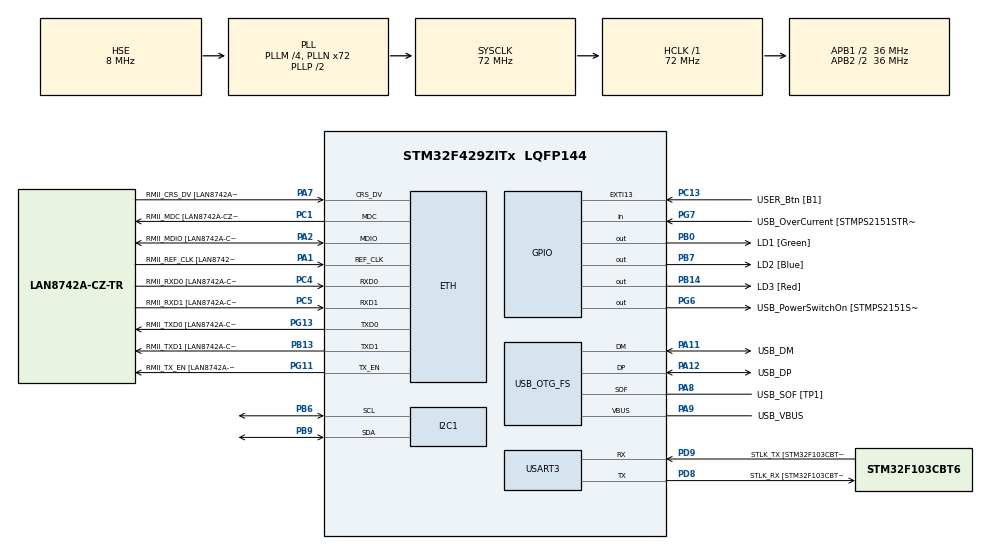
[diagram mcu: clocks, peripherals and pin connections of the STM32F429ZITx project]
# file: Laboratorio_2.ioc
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ETH.MediaInterface=HAL_ETH_RMII_MODE
ETH.PHY_Name=LAN8742A_PHY_ADDRESS
ETH.PHY_Value=0
ETH.PhyAddress=0
Mcu.Family=STM32F4
Mcu.Name=STM32F429ZITx
Mcu.Package=LQFP144
NVIC.PriorityGroup=NVIC_PRIORITYGROUP_4
PA1.GPIO_Label=RMII_REF_CLK [LAN8742A-CZ-TR_REFCLK0]
PA1.Mode=RMII
PA1.Signal=ETH_REF_CLK
PA10.GPIO_Label=USB_ID
PA10.Signal=USB_OTG_FS_ID
PA11.GPIO_Label=USB_DM
PA11.Mode=Device_Only
PA11.Signal=USB_OTG_FS_DM
PA12.GPIO_Label=USB_DP
PA12.Mode=Device_Only
PA12.Signal=USB_OTG_FS_DP
PA13.GPIO_Label=TMS
PA13.Mode=Serial_Wire
PA13.Signal=SYS_JTMS-SWDIO
PA14.GPIO_Label=TCK
PA14.Mode=Serial_Wire
PA14.Signal=SYS_JTCK-SWCLK
PA2.GPIO_Label=RMII_MDIO [LAN8742A-CZ-TR_MDIO]
PA2.Mode=RMII
PA2.Signal=ETH_MDIO
PA7.GPIO_Label=RMII_CRS_DV [LAN8742A-CZ-TR_CRS_DV]
PA7.Mode=RMII
PA7.Signal=ETH_CRS_DV
PA8.GPIO_Label=USB_SOF [TP1]
PA8.Mode=Activate_SOF_FS
PA8.Signal=USB_OTG_FS_SOF
PA9.GPIO_Label=USB_VBUS
PA9.Mode=Activate_VBUS
PA9.Signal=USB_OTG_FS_VBUS
PB0.GPIO_Label=LD1 [Green]
PB0.Signal=GPIO_Output
PB13.GPIO_Label=RMII_TXD1 [LAN8742A-CZ-TR_TXD1]
PB13.Mode=RMII
PB13.Signal=ETH_TXD1
PB14.GPIO_Label=LD3 [Red]
PB14.Signal=GPIO_Output
PB6.Mode=I2C
PB6.Signal=I2C1_SCL
PB7.GPIO_Label=LD2 [Blue]
PB7.Signal=GPIO_Output
PB9.Mode=I2C
PB9.Signal=I2C1_SDA
PC1.GPIO_Label=RMII_MDC [LAN8742A-CZ-TR_MDC]
PC1.Mode=RMII
PC1.Signal=ETH_MDC
PC13.GPIO_Label=USER_Btn [B1]
PC13.Signal=GPXTI13
PC14/OSC32_IN.Signal=RCC_OSC32_IN
PC15/OSC32_OUT.Signal=RCC_OSC32_OUT
PC4.GPIO_Label=RMII_RXD0 [LAN8742A-CZ-TR_RXD0]
PC4.Mode=RMII
PC4.Signal=ETH_RXD0
PC5.GPIO_Label=RMII_RXD1 [LAN8742A-CZ-TR_RXD1]
PC5.Mode=RMII
PC5.Signal=ETH_RXD1
PD8.GPIO_Label=STLK_RX [STM32F103CBT6_PA3]
PD8.Mode=Asynchronous
PD8.Signal=USART3_TX
PD9.GPIO_Label=STLK_TX [STM32F103CBT6_PA2]
PD9.Mode=Asynchronous
PD9.Signal=USART3_RX
PG11.GPIO_Label=RMII_TX_EN [LAN8742A-CZ-TR_TXEN]
PG11.Mode=RMII
PG11.Signal=ETH_TX_EN
PG13.GPIO_Label=RMII_TXD0 [LAN8742A-CZ-TR_TXD0]
PG13.Mode=RMII
PG13.Signal=ETH_TXD0
PG6.GPIO_Label=USB_PowerSwitchOn [STMPS2151STR_EN]
PG6.Signal=GPIO_Output
PG7.GPIO_Label=USB_OverCurrent [STMPS2151STR_FAULT]
PG7.Signal=GPIO_Input
PH0/OSC_IN.GPIO_Label=MCO [STM32F103CBT6_PA8]
PH0/OSC_IN.Mode=HSE-External-Oscillator
PH0/OSC_IN.Signal=RCC_OSC_IN
PH1/OSC_OUT.Mode=HSE-External-Oscillator
PH1/OSC_OUT.Signal=RCC_OSC_OUT
ProjectManager.HeapSize=0x200
ProjectManager.StackSize=0x400
ProjectManager.TargetToolchain=STM32CubeIDE
RCC.48MHZClocksFreq_Value=48000000
RCC.AHBFreq_Value=72000000
RCC.APB1CLKDivider=RCC_HCLK_DIV2
RCC.APB1Freq_Value=36000000
RCC.APB1TimFreq_Value=72000000
RCC.APB2CLKDivider=RCC_HCLK_DIV2
RCC.APB2Freq_Value=36000000
RCC.APB2TimFreq_Value=72000000
RCC.CortexFreq_Value=72000000
RCC.HCLKFreq_Value=72000000
RCC.HSE_VALUE=8000000
RCC.HSI_VALUE=16000000
RCC.PLLM=4
RCC.PLLMUL=RCC_PLL_MUL9
RCC.PLLN=72
RCC.PLLQ=3
RCC.PRESCALERUSB=RCC_USBCLKSOURCE_PLL_DIV1_5
RCC.SYSCLKFreq_VALUE=72000000
RCC.SYSCLKSource=RCC_SYSCLKSOURCE_PLLCLK
RCC.SYSCLKSourceVirtual=RCC_SYSCLKSOURCE_PLLCLK
RCC.USBFreq_Value=48000000
RCC.VCOOutputFreq_Value=144000000
USART3.VirtualMode=VM_ASYNC
USB_OTG_FS.VirtualMode=Device_Only
board=NUCLEO-F429ZI

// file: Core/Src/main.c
/* USER CODE BEGIN Header */
/**
  ******************************************************************************
  * @file           : main.c
  * @brief          : Main program body
  ******************************************************************************
  * @attention
  *
  * Copyright (c) 2022 STMicroelectronics.
  * All rights reserved.
  *
  * This software is licensed under terms that can be found in the LICENSE file
  * in the root directory of this software component.
  * If no LICENSE file comes with this software, it is provided AS-IS.
  *
  ******************************************************************************
  */
/* USER CODE END Header */
#include "main.h"
#include "string.h"

/* USER CODE BEGIN Includes */
#include <stdio.h>
/* USER CODE END Includes */

ETH_TxPacketConfig TxConfig;
ETH_DMADescTypeDef  DMARxDscrTab[ETH_RX_DESC_CNT]; /* Ethernet Rx DMA Descriptors */
ETH_DMADescTypeDef  DMATxDscrTab[ETH_TX_DESC_CNT]; /* Ethernet Tx DMA Descriptors */

ETH_HandleTypeDef heth;

I2C_HandleTypeDef hi2c1;

UART_HandleTypeDef huart3;

PCD_HandleTypeDef hpcd_USB_OTG_FS;

void SystemClock_Config(void);
static void MX_GPIO_Init(void);
static void MX_ETH_Init(void);
static void MX_USART3_UART_Init(void);
static void MX_USB_OTG_FS_PCD_Init(void);
static void MX_I2C1_Init(void);

/* USER CODE BEGIN 0 */

#define DS3231_ADDRESS 0XD0

uint8_t decToBcd(int val)
{
	return(uint8_t)((val/10*16)+(val%10));
}
int bcdToDec(uint8_t val)
{
	return (int)((val/16*10)+(val%16));
}

typedef struct
{
	uint8_t seconds;
	uint8_t minutes;
	uint8_t hour;
	uint8_t dayofweek;
	uint8_t dayofmonth;
	uint8_t month;
	uint8_t year;
} TIME;

TIME time;

void Set_Time(uint8_t sec, uint8_t min, uint8_t hour, uint8_t dow, uint8_t dom, uint8_t month, uint8_t year)
{
	uint8_t set_time[7];
	set_time[0] = decToBcd(sec);
	set_time[1] = decToBcd(min);
	set_time[2] = decToBcd(hour);
	set_time[3] = decToBcd(dow);
	set_time[4] = decToBcd(dom);
	set_time[5] = decToBcd(month);
	set_time[6] = decToBcd(year);

	HAL_I2C_Mem_Write(&hi2c1, DS3231_ADDRESS, 0x00, 1, set_time, 7, 1000);
}

void Get_Time(void)
{
	uint8_t get_time[7];
	HAL_I2C_Mem_Read(&hi2c1, DS3231_ADDRESS, 0x00, 1, get_time, 7, 1000);
	time.seconds = bcdToDec(get_time[0]);
	time.minutes = bcdToDec(get_time[1]);
	time.hour = bcdToDec(get_time[2]);
	time.dayofweek = bcdToDec(get_time[3]);
	time.dayofmonth = bcdToDec(get_time[4]);
	time.month = bcdToDec(get_time[5]);
	time.year = bcdToDec(get_time[6]);
}

char date[30];
char hora[30];
uint8_t flagEsc;

typedef enum EStatesMain{
	MAIN_INIT
}EStatesMain;
/* USER CODE END 0 */

int main(void)
{
  /* USER CODE BEGIN 1 */
	char semilla[16];
	char tags[10];
	char seleccion[10];
	char next[1];
	char opcion[10];
	char impresion[10];
	char frecuencia[10];
	char fre[10];
  /* USER CODE END 1 */

  /* MCU Configuration--------------------------------------------------------*/

  /* Reset of all peripherals, Initializes the Flash interface and the Systick. */
  HAL_Init();

  /* Configure the system clock */
  SystemClock_Config();

  /* Initialize all configured peripherals */
  MX_GPIO_Init();
  MX_ETH_Init();
  MX_USART3_UART_Init();
  MX_USB_OTG_FS_PCD_Init();
  MX_I2C1_Init();
  /* USER CODE BEGIN 2 */
  //Set_Time(10,26,2,4,8,12,22);
  RetargetInit(&huart3);
  enum EStatesMain statesMain;
  flagEsc =1;
  printf("\x1b[2J"); //Clear the screen
  /* USER CODE END 2 */

  /* Infinite loop */
  while (1)
  {
	  if(flagEsc)
	  {
		  flagEsc=0;
		  statesMain = MAIN_INIT;
	  }else switch(statesMain)
	  {
	  	  case MAIN_INIT:
	  	  Get_Time();
	  	  int band_menu=0;
	  	  int band_impresion;
	  	  	  	  printf("\r\nMenu principal, por favor seleccione la opcion de que desea realizar");
	  	  	  	  printf("\r\nAyuda General sistema: 1 ");
	  	  	  	  printf("\r\nAyuda detallada: 2 ");
	  	  	  	  printf("\r\nSistema control de led a frecuencia: 3 ");
	  	  	  	  printf("\r\nSecuencia pseudoaleatorias: 4 ");
	  	  	  	  printf("\r\nConfiguracion hora y fecha: 5 ");
	  	  	  	  printf("\r\nSensor de temperatura: 6 ");
	  	  	  	  printf("\r\nRegistros de ejecución: 7 ");
	  	  	  	  printf("\r\nHabilitacion/Deshabilitación de impresion interfaz serial: 8 ");
	  	  	  	  scanf("%s", seleccion);
	  	  	  	  int menu = atoi(seleccion);

	  	  	  	  if(menu==1)
	  	  	  	  {
	  	  	  		  printf("\x1b[2J");
	  	  	  		  printf("\r\nOpcion 2 Ayuda detallada. \r\n ");
	  	  	  		  printf("\r\nEn esta opcion se selecciona la opcion de la que desea tener mayor informacion para poder uso de esta.\r\n ");
	  	  	  		  printf("\r\nOpcion 3 Sistema control de led a frecuencia.\r\n ");
	  	  	  		  printf("\r\nEste sistema lo que hace es realizar el encendido y apagado de un led respecto a la frecuencia que desee escoger el usuario"
	  	  	  				  " siempre y cuando esta se encuentre en el intervalo entre 0.1 y 10 Hz.\r\n ");
	  	  	  		  printf("\r\nOpcion 4 Secuencia pseudaleatoria.\r\n ");
	  	  	  		  printf("\r\nEsta opcion es para inciar una secuencia pseudoaleatoria con dos terminos de realimentacion, la cual se podra realizar para "
	  	  	  				  "tamaños de semilla  entre 4 y 32 bits.\r\n ");
	  	  	  		  printf("\r\nOpcion 5 Configuracion hora y fecha.\r\n ");
	  	  	  		  printf("\r\nEsta opcion permite al usuario modificar fecha y hora, para poder realizar el registro correcto de las ejecuciones realizadas"
	  	  	  				"en el sistema.\r\n ");
	  	  	  		  printf("\r\nOpcion 6 Sensor de temperatura.\r\n ");
	  	  	  		  printf("\r\nEn esta opcion se puede observar la temperatura ambiente en donde se encuentra el sistema.\r\n ");

	  	  	  		  printf("\r\nOpcion 7 Registro de ejecucion.\r\n ");
	  	  	  		  printf("\r\nEn esta opcion encuentra el registro de los ultimos procesos de ejecucion realizados.\r\n ");

	  	  	  		  printf("\r\nOpcion 8 Habilitacion de impresion interfaz serial.\r\n ");
	  	  	  		  printf("\r\nEn esta opcion se puede escoger si se desea observar los valores de la secuencia pseudoaleatoria o no.\r\n ");
	  	  	  		  scanf("%s",next);

	  	  	  		  band_menu=1;

	  	  	  	  }
	  	  	  	  if(menu==2)
	  	  	  	  {
	  	  	  		  printf("\x1b[2J");
	  	  	  		  printf("\r\nSeleccione de cual opcion quiere tener mas información ");
	  	  	  		  printf("\r\nSistema control de led a frecuencia: 1 ");
	  	  	  		  printf("\r\nSecuencia pseudoaleatorias: 2 ");
	  	  	  		  printf("\r\nConfiguracion hora y fecha: 3 ");
	  	  	  		  printf("\r\nSensor de temperatura: 4 ");
	  	  	  		  printf("\r\nRegistros de ejecución: 5 ");
	  	  	  		  printf("\r\nHabilitacion/Deshabilitación de impresion interfaz serial: 6 ");
	  	  	  		  scanf("%s",opcion);
	  	  	  		  int help = atoi(opcion);
	  	  	  		  if(help==1)
	  	  	  		  {
	  	  	  			  printf("\x1b[2J");
	  	  	  			  printf("\r\nSistema control de led a frecuencia\r\n ");
	  	  	  			  printf("\r\nEn esta opcion tenemos unas frecuencias predeterminadas para escoger, aunque tambien se encuentra una opcion en la que podemos"
	  	  	  					  "escribir un valor de frecuencia diferente a las que nos da el sistema, la unica condicion es que se encuentre en el rango de 0.1 a 10 Hz"
	  	  	  					  " de los contrario el sistema arrojara un error y nos dirigira al menu principal.\r\n ");
	  	  	  			  scanf("%s",next);
	  	  	  			  band_menu=1;
	  	  	  		  }
	  	  	  		  if(help==2)
	  	  	  		  {
	  	  	  			  printf("\x1b[2J");
	  	  	  			  printf("\r\nSecuencia pseudaleatoria\r\n ");
	  	  	  			  printf("\r\nEn esta opcion usted puede ingresar un valor semilla que se encuentre entre 4 y 32 bits, el cual sera el inicio de la secuencia, ademas "
	  	  	  					  "tiene la opcion de escoger las posiciones que se utilizaran para la implementacion de la xor y de estas obtener el bit de realimentacion "
	  	  	  					  "en la secuencia.\r\n ");
	  	  	  			  scanf("%s",next);
	  	  	  			  band_menu=1;
	  	  	  		  }
	  	  	  		  if(help==3)
	  	  	  		  {
	  	  	  			  printf("\x1b[2J");
	  	  	  			  printf("\r\nConfiguracion hora y fecha.\r\n ");
	  	  	  			  printf("\r\nEn esta opcion usted puede ingresar a configurar la fecha y hora, ya sea porque se ha  desconfigurado el reloj o haya cambiado de locacion geografica.\r\n ");
	  	  	  			  scanf("%s",next);
	  	  	  			  band_menu=1;
	  	  	  		  }
	  	  	  		  if(help==4)
	  	  	  		  {
	  	  	  			  printf("\x1b[2J");
	  	  	  			  printf("\r\nSensor de temperatura.\r\n ");
	  	  	  			  printf("\r\nEn esta opcion se puede observar en tiempo real la temperatura ambiente.\r\n ");
	  	  	  			  scanf("%s",next);
	  	  	  			  band_menu=1;
	  	  	  		  }
	  	  	  		  if(help==5)
	  	  	  		  {
	  	  	  			  printf("\x1b[2J");
	  	  	  			  printf("\r\nRegistro de ejecucion.\r\n ");
	  	  	  			  printf("\r\nEn esta opcion se pueden observar los parametros claves e inciales de las ultimas ejecuciones realizadas en el sistema.\r\n ");
	  	  	  			  scanf("%s",next);
	  	  	  			  band_menu=1;
	  	  	  		  }
	  	  	  		  if(help==6)
	  	  	  		  {
	  	  	  			  printf("\x1b[2J");
	  	  	  			  printf("\r\nHabilitacion de impresion interfaz serial.\r\n ");
	  	  	  			  printf("\r\nEn esta opcion se presenta la posibilidad de desactivar o activar la impresion de los datos de la opcion 4 de secuencia pseudaleatoria.\r\n ");
	  	  	  			  scanf("%s",next);
	  	  	  			  band_menu=1;
	  	  	  		  }
	  	  	  		  band_menu=1;

	  	  	  	  }
	  	  	  	  if(menu==3)
	  	  	  	  {
	  	  	  		  int cont=0;
	  	  	  		  int var;
	  	  	  		  printf("\x1b[2J");
	  	  	  		  printf("\r\nSeleccione la frecuencia deseada");
	  	  	  		  printf("\r\n0.1 Hz: 1");
	  	  	  		  printf("\r\n0.5 Hz: 2");
	  	  	  		  printf("\r\n1 Hz: 3");
	  	  	  		  printf("\r\n3 Hz: 4");
	  	  	  		  printf("\r\n5 Hz: 5");
	  	  	  		  printf("\r\n7 Hz: 6");
	  	  	  		  printf("\r\n9 Hz: 7");
	  	  	  		  printf("\r\n10 Hz: 8");
	  	  	  		  printf("\r\nOtra: 9");
	  	  	  		  scanf("%s",frecuencia);

	  	  	  		  int dig = atoi(frecuencia);

	  	  	  		  if(dig==1)
	  	  	  		  {
	  	  	  			  while(cont<101)
	  	  	  			  {
	  	  	  				  HAL_GPIO_TogglePin(LD2_GPIO_Port,LD2_Pin);
	  	  	  				  HAL_Delay(10000);
	  	  	  				  cont++;
	  	  	  			  }
	  	  	  			  band_menu=1;
	  	  	  		  }
	  	  	  		  if(dig==2)
	  	  	  		  {
	  	  	  			  while(cont<101)
	  	  	  			  {
	  	  	  				  HAL_GPIO_TogglePin(LD2_GPIO_Port,LD2_Pin);
	  	  	  				  HAL_Delay(2000);
	  	  	  				  cont++;
	  	  	  			  }
	  	  	  			  band_menu=1;
	  	  	  		  }
	  	  	  		  if(dig==3)
	  	  	  		  {
	  	  	  			  while(cont<101)
	  	  	  			  {
	  	  	  				  HAL_GPIO_TogglePin(LD2_GPIO_Port,LD2_Pin);
	  	  	  				  HAL_Delay(1000);
	  	  	  				  cont++;
	  	  	  			  }
	  	  	  		  }
	  	  	  		  if(dig==4)
	  	  	  		  {
	  	  	  			  while(cont<101)
	  	  	  			  {
	  	  	  				  HAL_GPIO_TogglePin(LD2_GPIO_Port,LD2_Pin);
	  	  	  				  HAL_Delay(333);
	  	  	  				  cont++;
	  	  	  			  }
	  	  	  		  }
	  	  	  		  if(dig==5)
	  	  	  		  {
	  	  	  			  while(cont<101)
	  	  	  			  {
	  	  	  				  HAL_GPIO_TogglePin(LD2_GPIO_Port,LD2_Pin);
	  	  	  				  HAL_Delay(200);
	  	  	  				  cont++;
	  	  	  			  }
	  	  	  		  }
	  	  	  		  if(dig==6)
	  	  	  		  {
	  	  	  			  while(cont<101)
	  	  	  			  {
	  	  	  				  HAL_GPIO_TogglePin(LD2_GPIO_Port,LD2_Pin);
	  	  	  				  HAL_Delay(143);
	  	  	  				  cont++;
	  	  	  			  }
	  	  	  		  }
	  	  	  		  if(dig==7)
	  	  	  		  {
	  	  	  			  while(cont<101)
	  	  	  			  {
	  	  	  				  HAL_GPIO_TogglePin(LD2_GPIO_Port,LD2_Pin);
	  	  	  				  HAL_Delay(111);
	  	  	  				  cont++;
	  	  	  			  }
	  	  	  		  }
	  	  	  		  if(dig==8)
	  	  	  		  {
	  	  	  			  while(cont<101)
	  	  	  			  {
	  	  	  				  HAL_GPIO_TogglePin(LD2_GPIO_Port,LD2_Pin);
	  	  	  				  HAL_Delay(100);
	  	  	  				  cont++;
	  	  	  			  }
	  	  	  		  }
	  	  	  		  if(dig==9)
	  	  	  		  {
	  	  	  			  printf("\r\nValor frecuencia entre 0.1 a 10 Hz");
	  	  	  			  scanf("%s",fre);
	  	  	  			  int f = atoi (fre);
	  	  	  			  var = (1/f)*1000;
	  	  	  			  while(cont<101)
	  	  	  			  {
	  	  	  				  HAL_GPIO_TogglePin(LD2_GPIO_Port,LD2_Pin);
	  	  	  				  HAL_Delay(var);
	  	  	  				  cont++;
	  	  	  			  }
	  	  	  		  }
	  	  	  		  band_menu=1;
	  	  	  	  }
	  	  	  	  if(menu==4)
	  	  	  	  {
	  	  	  		  printf("\x1b[2J");
	  	  	  		  int band=0;
	  	  	  		  printf("\r\nIngrese el valor semilla: ");
	  	  	       	  scanf("%s", semilla);
	  	  	  	 	  printf("\r\nEl valor semilla ingresado: %s\r\n ", semilla);
	  	  	  	 	  printf("\r\nIngrese el tamaño para la realimentacion\r\n ");
	  	  	  		  scanf("%s", tags);
	  	  	      	  printf("\r\nEl tamaño: %s\r\n ", tags);
	  	  	  	  	  int numref = atoi(tags);
	  	  	  	  	  int sem;
	  	  	  	  	  if(numref == 7)
	  	  	  		  {
	  	  	  	  		  int cont=0,cant=0,max=128,p_max=0,pos=0;
	  	  	  	  		  uint8_t lfsr=atoi(semilla);
	  	  	  		  	  uint8_t bit;
	  	  	  		  	  printf("\r\n#bits término de realimentación %s\r\n", tags);
	  	  	  		  	  printf("\r\nValor inicial(semilla) %s\r\n", semilla);
	  	  	  		  	  printf("\r\n#Valores esperados %d\r\n", max);
	  	  	  		  	  while(cont<128)
	  	  	  		  	  {
	  	  	  		  	  	  bit = ((lfsr >> 0) ^ (lfsr >> 1)) & 1;
	  	  	  			  	  lfsr = (lfsr >> 1) | (bit << 6);
	  	  	  		  	  	  cont++;
	  	  	  		  	  	  if(band_impresion==1)
	  	  	  		  	  	  {
	  	  	  		  	  		  printf("\r\ndata: %x\r\n", lfsr);
	  	  	  		  	  	  }
	  	  	  		  	  	  HAL_GPIO_TogglePin(LD2_GPIO_Port,LD2_Pin);
	  	  	  			  	  HAL_Delay(200);
	  	  	  		  		  cant++;
	  	  	  		  	  	  if(atoi(semilla)==lfsr)
	  	  	  			  	  {
	  	  	  			  		  cont=129;
	  	  	  			  		  printf("\r\nCantidad: %d\r\n", cant);
	  	  	  			  	  }
	  	  	  		  	 	  if(0X7F ==lfsr)
	  	  	  			  	  {
	  	  	  			  		  pos=cant;
	  	  	    			  		  p_max=1;
	  	  	   			  	  }
	  	  	  			  }
	  	  	  		  	  printf("\r\n#bits término de realimentación %s\r\n", tags);
	  	  	  		  	  printf("\r\nValor inicial(semilla) %s\r\n", semilla);
	  	  	  		  	  printf("\r\nNumero de valores calculados %d\r\n", cant);
	  	  	  		  	  if(p_max=1)
	  	  	  		  	  {
	  	  	  				  printf("\r\nTuvo periodo maximo en la secuencia %d\r\n", pos);
	  	  	  		  	  }
	  	  	  		  	  else
	  	  	  		  	  {
	  	  	  		  		  printf("\r\nNo tuvo periodo maximo\r\n");
	  	  	  		  	  }
	  	  	  		  	  if(pos | 0)
	  	  	  		  	  {
	  	  	  		  		  HAL_GPIO_TogglePin(LD3_GPIO_Port,LD3_Pin);
	  	  	  		  		  HAL_Delay(5000);
	  	  	  		  	  }
	  	  	  		  	  band=1;
	  	  	  		  }
	  	  	  		  if(numref == 12)
	  	  	  		  {
	  	  	  		  	 int cont=0,cant=0,max=4096,p_max=0,pos=0;
	  	  	  		  	 uint16_t lfsr1=atoi(semilla);
	  	  	  		  	 uint16_t seed=0xFFF;
	  	  	  		  	 uint16_t bit1;
	  	  	  		  	 printf("\r\n#bits término de realimentación %s\r\n", tags);
	  	  	  		  	 printf("\r\nValor inicial(semilla) %s\r\n", semilla);
	  	  	  		  	 printf("\r\n#Valores esperados %d\r\n", max);
	  	  	  		  	 while(cont<4096)
	  	  	  		  	 {
	  	  	  		  		 bit1 = ((lfsr1 >> 0) ^ (lfsr1 >> 1)) & 1;
	  	  	  		  		 lfsr1 = (lfsr1 >> 1) | (bit1 << 11);
	  	  	  		  		 cont++;
	  	  	  		  		 if(band_impresion==1)
	  	  	  		  		 {
	  	  	  		  			 printf("\r\ndata: %x\r\n", lfsr1);
	  	  	  		  		 }
	  	  	  		  		 HAL_GPIO_TogglePin(LD2_GPIO_Port,LD2_Pin);
	  	  	  		  		 //HAL_Delay(200);
	  	  	  		  		 cant++;
	  	  	  		  		 if(atoi(semilla)==lfsr1)
	  	  	  		  		 {
	  	  	  		  			 cont=4097;
	  	  	  		  			 printf("\r\nCantidad: %d\r\n", cant);
	  	  	  		  		 }
	  	  	  		  		 if(0XFFF ==lfsr1)
	  	  	  		  		 {
	  	  	  		  			 pos=cant;
	  	  	  		  			 p_max=1;
	  	  	  		  		 }
	  	  	  		  	 }
	  	  	  		  	 printf("\r\n#bits término de realimentación %s\r\n", tags);
	  	  	  		  	 printf("\r\nValor inicial(semilla) %s\r\n", semilla);
	  	  	  		  	 printf("\r\nNumero de valores calculados %d\r\n", cant);
	  	  	  		  	 if(p_max=1)
	  	  	  		  	 {
	  	  	  		  		 printf("\r\nTuvo periodo maximo en la secuencia %d\r\n", pos);
	  	  	  		  	 }
	  	  	  		  	 else
	  	  	  		  	 {
	  	  	  		  		 printf("\r\nNo tuvo periodo maximo\r\n");
	  	  	  		  	 }
	  	  	  		  	 if(pos | 0)
	  	  	  		  	 {
	  	  	  		  		 HAL_GPIO_TogglePin(LD3_GPIO_Port,LD3_Pin);
	  	  	  		  		 HAL_Delay(5000);
	  	  	  		  	 }
	  	  	  		  	 band=1;
	  	  	  		  }
	  	  	  		  if(numref == 16)
	  	  	  		  {
	  	  	  			  int cont=0,cant=0,max=4096,p_max=0,pos=0;
	  	  	  			  uint16_t lfsr2=atoi(semilla);
	  	  	  			  uint16_t bit2;
	  	  	  			  printf("\r\n#bits término de realimentación %s\r\n", tags);
	  	  	  			  printf("\r\nValor inicial(semilla) %s\r\n", semilla);
	  	  	  			  printf("\r\n#Valores esperados %d\r\n", max);
	  	  	  			  while(cont<65535)
	  	  	  			  {
	  	  	  				  bit2 = ((lfsr2 >> 0) ^ (lfsr2 >> 1)) & 1;
	  	  	  				  lfsr2 = (lfsr2 >> 1) | (bit2 << 15);
	  	  	  				  cont++;
	  	  	  				  if(band_impresion==1)
	  	  	  				  {
	  	  	  					  printf("\r\ndata: %x\r\n", lfsr2);
	  	  	  				  };
	  	  	  				  HAL_GPIO_TogglePin(LD2_GPIO_Port,LD2_Pin);
	  	  	  				  HAL_Delay(200);
	  	  	  				  cant++;
	  	  	  				  if(atoi(semilla)==lfsr2)
	  	  	  				  {
	  	  	  					  cont=65536;
	  	  	  					  printf("\r\nCantidad: %d\r\n", cant);
	  	  	  				  }
	  	  	  				  if(0XFFFF ==lfsr2)
	  	  	  				  {
	  	  	  					  pos=cant;
	  	  	  					  p_max=1;
	  	  	  				  }
	  	  	  			  }
	  	  	  			  printf("\r\n#bits término de realimentación %s\r\n", tags);
	  	  	  			  printf("\r\nValor inicial(semilla) %s\r\n", semilla);
	  	  	  			  printf("\r\nNumero de valores calculados %d\r\n", cant);
	  	  	  			  if(p_max=1)
	  	  	  			  {
	  	  	  				  printf("\r\nTuvo periodo maximo en la secuencia %d\r\n", pos);
	  	  	  			  }
	  	  	  			  else
	  	  	  			  {
	  	  	  				  printf("\r\nNo tuvo periodo maximo\r\n");
	  	  	  			  }
	  	  	  			  if(pos | 0)
	  	  	  			  {
	  	  	  				  HAL_GPIO_TogglePin(LD3_GPIO_Port,LD3_Pin);
	  	  	  				  HAL_Delay(5000);
	  	  	  			  }
	  	  	  			  band=1;
	  	  	  		  }
	  	  	  		  if(band==0)
	  	  	  		  {
	  	  	  			  printf("\r\nTamaño no autorizado");
	  	  	  		  }
	  	  	  		  band_menu=1;
	  	  	  	  }
	  	  	  	  if(menu==5)
	  	  	  	  {
	  	  	  		  printf("\x1b[2J");
	  	  	  		  sprintf(hora,"Time: %02d:%02d:%02d\t", time.hour, time.minutes, time.seconds);
	  	  	  		  sprintf(date,"Date: %02d/%02d/20%02d\r\n", time.dayofmonth, time.month, time.year);

	  	  	  		  HAL_UART_Transmit(&huart3, (uint8_t*)hora, sizeof(hora), HAL_MAX_DELAY);
	  	  	  		  HAL_UART_Transmit(&huart3, (uint8_t*)date, sizeof(date), HAL_MAX_DELAY);
	  	  	  		  HAL_Delay(900);

	  	  	  		  band_menu=1;
	  	  	  	  }
	  	  	  	  if(menu==6)
	  	  	  	  {
	  	  	  		  printf("\x1b[2J");
	  	  	  		  printf("\r\nMenu 6 ");
	  	  	  		  band_menu=1;
	  	  	  	  }
	  	  	  	  if(menu==7)
	  	  	  	  {
	  	  	  		  printf("\x1b[2J");
	  	  	  		  printf("\r\nMenu 7 ");
	  	  	  		  band_menu=1;
	  	  	  	  }
	  	  	  	  if(menu==8)
	  	  	  	  {
	  	  	  		  printf("\x1b[2J");
	  	  	  		  printf("\r\nEscoja la opcion que crea pertinente ");
	  	  	  		  printf("\r\nSi desea activar la impresion de datos presione: 1 ");
	  	  	  		  printf("\r\nSi dese desactivar la impresion de datos presione: 2 ");
	  	  	  		  scanf("%s",impresion);
	  	  	  		  int band_datos = atoi(impresion);
	  	  	  		  if(band_datos==1)
	  	  	  		  {
	  	  	  			  printf("\r\nLa impresion de datos se encuentra activada");
	  	  	  			  HAL_Delay(2000);
	  	  	  			  band_impresion=1;
	  	  	  			  band_menu=1;
	  	  	  		  }
	  	  	  		  if(band_datos==2)
	  	  	  		  {
	  	  	  			  printf("\r\nLa impresion de datos se encuentra desactivada");
	  	  	  			  HAL_Delay(2000);
	  	  	  			  band_impresion=0;
	  	  	  			  band_menu=1;
	  	  	  		  }
	  	  	  		  band_menu=1;
	  	  	  	  }
	  	  	  	  if(band_menu==0)
	  	  	  	  {
	  	  	  		  printf("\r\nOpción no disponible");
	  	  	  	  }

	  }

  }
}

void SystemClock_Config(void)
{
  RCC_OscInitTypeDef RCC_OscInitStruct = {0};
  RCC_ClkInitTypeDef RCC_ClkInitStruct = {0};

  /** Configure the main internal regulator output voltage
  */
  __HAL_RCC_PWR_CLK_ENABLE();
  __HAL_PWR_VOLTAGESCALING_CONFIG(PWR_REGULATOR_VOLTAGE_SCALE3);

  /** Initializes the RCC Oscillators according to the specified parameters
  * in the RCC_OscInitTypeDef structure.
  */
  RCC_OscInitStruct.OscillatorType = RCC_OSCILLATORTYPE_HSE;
  RCC_OscInitStruct.HSEState = RCC_HSE_ON;
  RCC_OscInitStruct.PLL.PLLState = RCC_PLL_ON;
  RCC_OscInitStruct.PLL.PLLSource = RCC_PLLSOURCE_HSE;
  RCC_OscInitStruct.PLL.PLLM = 4;
  RCC_OscInitStruct.PLL.PLLN = 72;
  RCC_OscInitStruct.PLL.PLLP = RCC_PLLP_DIV2;
  RCC_OscInitStruct.PLL.PLLQ = 3;
  if (HAL_RCC_OscConfig(&RCC_OscInitStruct) != HAL_OK)
  {
    Error_Handler();
  }

  /** Initializes the CPU, AHB and APB buses clocks
  */
  RCC_ClkInitStruct.ClockType = RCC_CLOCKTYPE_HCLK|RCC_CLOCKTYPE_SYSCLK
                              |RCC_CLOCKTYPE_PCLK1|RCC_CLOCKTYPE_PCLK2;
  RCC_ClkInitStruct.SYSCLKSource = RCC_SYSCLKSOURCE_PLLCLK;
  RCC_ClkInitStruct.AHBCLKDivider = RCC_SYSCLK_DIV1;
  RCC_ClkInitStruct.APB1CLKDivider = RCC_HCLK_DIV2;
  RCC_ClkInitStruct.APB2CLKDivider = RCC_HCLK_DIV2;

  if (HAL_RCC_ClockConfig(&RCC_ClkInitStruct, FLASH_LATENCY_2) != HAL_OK)
  {
    Error_Handler();
  }
}

static void MX_ETH_Init(void)
{

   static uint8_t MACAddr[6];

  heth.Instance = ETH;
  MACAddr[0] = 0x00;
  MACAddr[1] = 0x80;
  MACAddr[2] = 0xE1;
  MACAddr[3] = 0x00;
  MACAddr[4] = 0x00;
  MACAddr[5] = 0x00;
  heth.Init.MACAddr = &MACAddr[0];
  heth.Init.MediaInterface = HAL_ETH_RMII_MODE;
  heth.Init.TxDesc = DMATxDscrTab;
  heth.Init.RxDesc = DMARxDscrTab;
  heth.Init.RxBuffLen = 1524;

  if (HAL_ETH_Init(&heth) != HAL_OK)
  {
    Error_Handler();
  }

  memset(&TxConfig, 0 , sizeof(ETH_TxPacketConfig));
  TxConfig.Attributes = ETH_TX_PACKETS_FEATURES_CSUM | ETH_TX_PACKETS_FEATURES_CRCPAD;
  TxConfig.ChecksumCtrl = ETH_CHECKSUM_IPHDR_PAYLOAD_INSERT_PHDR_CALC;
  TxConfig.CRCPadCtrl = ETH_CRC_PAD_INSERT;

}

static void MX_I2C1_Init(void)
{

  hi2c1.Instance = I2C1;
  hi2c1.Init.ClockSpeed = 100000;
  hi2c1.Init.DutyCycle = I2C_DUTYCYCLE_2;
  hi2c1.Init.OwnAddress1 = 0;
  hi2c1.Init.AddressingMode = I2C_ADDRESSINGMODE_7BIT;
  hi2c1.Init.DualAddressMode = I2C_DUALADDRESS_DISABLE;
  hi2c1.Init.OwnAddress2 = 0;
  hi2c1.Init.GeneralCallMode = I2C_GENERALCALL_DISABLE;
  hi2c1.Init.NoStretchMode = I2C_NOSTRETCH_DISABLE;
  if (HAL_I2C_Init(&hi2c1) != HAL_OK)
  {
    Error_Handler();
  }

  /** Configure Analogue filter
  */
  if (HAL_I2CEx_ConfigAnalogFilter(&hi2c1, I2C_ANALOGFILTER_ENABLE) != HAL_OK)
  {
    Error_Handler();
  }

  /** Configure Digital filter
  */
  if (HAL_I2CEx_ConfigDigitalFilter(&hi2c1, 0) != HAL_OK)
  {
    Error_Handler();
  }

}

static void MX_USART3_UART_Init(void)
{

  huart3.Instance = USART3;
  huart3.Init.BaudRate = 115200;
  huart3.Init.WordLength = UART_WORDLENGTH_8B;
  huart3.Init.StopBits = UART_STOPBITS_1;
  huart3.Init.Parity = UART_PARITY_NONE;
  huart3.Init.Mode = UART_MODE_TX_RX;
  huart3.Init.HwFlowCtl = UART_HWCONTROL_NONE;
  huart3.Init.OverSampling = UART_OVERSAMPLING_16;
  if (HAL_UART_Init(&huart3) != HAL_OK)
  {
    Error_Handler();
  }

}

static void MX_USB_OTG_FS_PCD_Init(void)
{

  hpcd_USB_OTG_FS.Instance = USB_OTG_FS;
  hpcd_USB_OTG_FS.Init.dev_endpoints = 4;
  hpcd_USB_OTG_FS.Init.speed = PCD_SPEED_FULL;
  hpcd_USB_OTG_FS.Init.dma_enable = DISABLE;
  hpcd_USB_OTG_FS.Init.phy_itface = PCD_PHY_EMBEDDED;
  hpcd_USB_OTG_FS.Init.Sof_enable = ENABLE;
  hpcd_USB_OTG_FS.Init.low_power_enable = DISABLE;
  hpcd_USB_OTG_FS.Init.lpm_enable = DISABLE;
  hpcd_USB_OTG_FS.Init.vbus_sensing_enable = ENABLE;
  hpcd_USB_OTG_FS.Init.use_dedicated_ep1 = DISABLE;
  if (HAL_PCD_Init(&hpcd_USB_OTG_FS) != HAL_OK)
  {
    Error_Handler();
  }

}

static void MX_GPIO_Init(void)
{
  GPIO_InitTypeDef GPIO_InitStruct = {0};

  /* GPIO Ports Clock Enable */
  __HAL_RCC_GPIOC_CLK_ENABLE();
  __HAL_RCC_GPIOH_CLK_ENABLE();
  __HAL_RCC_GPIOA_CLK_ENABLE();
  __HAL_RCC_GPIOB_CLK_ENABLE();
  __HAL_RCC_GPIOD_CLK_ENABLE();
  __HAL_RCC_GPIOG_CLK_ENABLE();

  /*Configure GPIO pin Output Level */
  HAL_GPIO_WritePin(GPIOB, LD1_Pin|LD3_Pin|LD2_Pin, GPIO_PIN_RESET);

  /*Configure GPIO pin Output Level */
  HAL_GPIO_WritePin(USB_PowerSwitchOn_GPIO_Port, USB_PowerSwitchOn_Pin, GPIO_PIN_RESET);

  /*Configure GPIO pin : USER_Btn_Pin */
  GPIO_InitStruct.Pin = USER_Btn_Pin;
  GPIO_InitStruct.Mode = GPIO_MODE_IT_RISING;
  GPIO_InitStruct.Pull = GPIO_NOPULL;
  HAL_GPIO_Init(USER_Btn_GPIO_Port, &GPIO_InitStruct);

  /*Configure GPIO pins : LD1_Pin LD3_Pin LD2_Pin */
  GPIO_InitStruct.Pin = LD1_Pin|LD3_Pin|LD2_Pin;
  GPIO_InitStruct.Mode = GPIO_MODE_OUTPUT_PP;
  GPIO_InitStruct.Pull = GPIO_NOPULL;
  GPIO_InitStruct.Speed = GPIO_SPEED_FREQ_LOW;
  HAL_GPIO_Init(GPIOB, &GPIO_InitStruct);

  /*Configure GPIO pin : USB_PowerSwitchOn_Pin */
  GPIO_InitStruct.Pin = USB_PowerSwitchOn_Pin;
  GPIO_InitStruct.Mode = GPIO_MODE_OUTPUT_PP;
  GPIO_InitStruct.Pull = GPIO_NOPULL;
  GPIO_InitStruct.Speed = GPIO_SPEED_FREQ_LOW;
  HAL_GPIO_Init(USB_PowerSwitchOn_GPIO_Port, &GPIO_InitStruct);

  /*Configure GPIO pin : USB_OverCurrent_Pin */
  GPIO_InitStruct.Pin = USB_OverCurrent_Pin;
  GPIO_InitStruct.Mode = GPIO_MODE_INPUT;
  GPIO_InitStruct.Pull = GPIO_NOPULL;
  HAL_GPIO_Init(USB_OverCurrent_GPIO_Port, &GPIO_InitStruct);

}

void Error_Handler(void)
{
  __disable_irq();
  while (1)
  {
	    }
}
